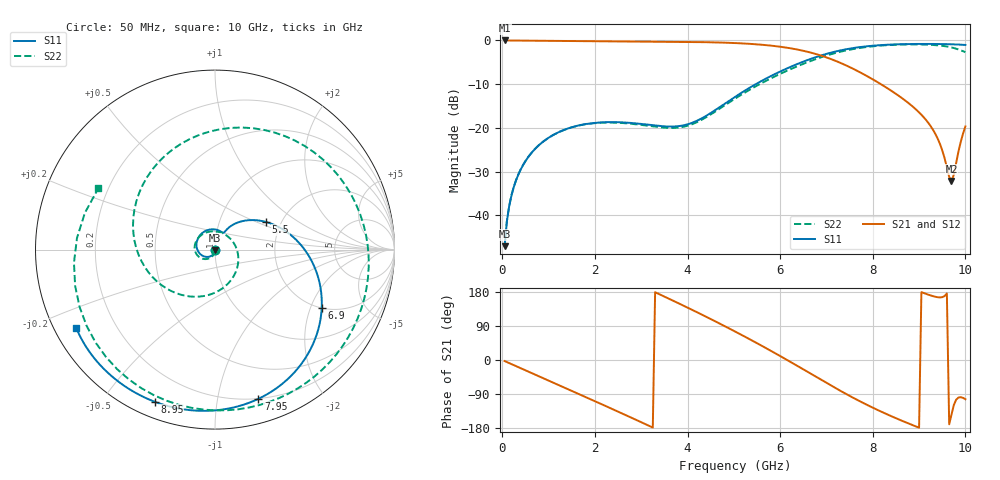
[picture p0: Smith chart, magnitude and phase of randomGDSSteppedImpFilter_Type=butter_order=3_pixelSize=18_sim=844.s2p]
! freq	dB(S11)	phase(S11)	dB(S12)	phase(S12)
!  dB(S21)	phase(S21)	dB(S22)	phase(S22)
!S-par simulation data
#  GHz  S  DB  R 50
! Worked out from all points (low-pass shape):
!   200 points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, 50 MHz to 10 GHz, reference 50 ohm
!   highest |S21| = 0.00 dB at 50 MHz (marker M1); lowest = -32.1 dB at 9.7 GHz (marker M2)
!   |S21| within 3 dB of the highest: start of sweep to 6.739 GHz
!   lowest |S11| = -47.0 dB at 50 MHz (marker M3), VSWR 1.01, Z = 50 - j0.446 ohm
!   |S11| at or under -10 dB: start of sweep to 5.472 GHz
!   |S22| runs from -47.0 to -0.9 dB; largest |S21 - S12| = 0
!   S11 on the Smith chart (normalised r, x): 50 MHz: 1.00, -0.01; 5.5 GHz: 1.67, +0.57; 6.9 GHz: 2.00, -2.41; 7.95 GHz: 0.20, -1.31; 8.95 GHz: 0.07, -0.68; 10 GHz: 0.06, -0.26
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0.05  -47.01 -89.1  -0.00 -2.8  -0.00 -2.8  -47.00 -88.0
0.1  -41.24 -93.8  -0.01 -5.5  -0.01 -5.5  -41.22 -92.1
0.2  -35.34 -101.4  -0.02 -10.9  -0.02 -10.9  -35.30 -98.1
0.5  -27.58 -121.5  -0.05 -27.2  -0.05 -27.2  -27.56 -113.2
1.15  -21.31 -163.2  -0.11 -62.5  -0.11 -62.5  -21.32 -143.7
1.75  -19.19 158.8  -0.17 -95.1  -0.17 -95.1  -19.25 -171.3
2.65  -18.76 104.3  -0.23 -144.5  -0.23 -144.5  -18.91 143.8
3.4  -19.55 70.9  -0.28 173.2  -0.28 173.2  -19.84 92.2
4.3  -17.84 59.8  -0.38 120.3  -0.38 120.3  -18.17 -2.4
5.05  -12.73 44.3  -0.61 73.7  -0.61 73.7  -13.14 -79.3
5.5  -9.83 28.6  -0.90 44.4  -0.90 44.4  -10.32 -122.2
6.1  -6.62 5.1  -1.59 3.6  -1.59 3.6  -7.15 178.8
6.7  -4.07 -20.0  -2.89 -39.0  -2.89 -39.0  -4.53 117.6
6.9  -3.38 -28.7  -3.52 -53.3  -3.52 -53.3  -3.79 97.3
7.35  -2.17 -48.4  -5.35 -84.7  -5.35 -84.7  -2.46 53.6
7.95  -1.25 -73.8  -8.59 -122.9  -8.59 -122.9  -1.40 1.4
8.35  -0.96 -89.5  -11.15 -145.6  -11.15 -145.6  -1.05 -29.6
8.95  -0.80 -111.7  -15.94 -176.2  -15.94 -176.2  -0.91 -74.1
9.35  -0.81 -126.0  -21.34 166.9  -21.34 166.9  -1.07 -107.9
9.7  -0.88 -138.9  -32.14 -144.2  -32.14 -144.2  -1.60 -149.2
9.85  -0.94 -144.6  -25.39 -99.1  -25.39 -99.1  -2.06 -174.7
10  -1.03 -150.4  -19.65 -103.4  -19.65 -103.4  -2.68 152.2
